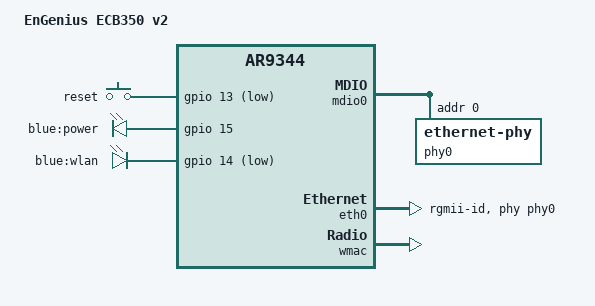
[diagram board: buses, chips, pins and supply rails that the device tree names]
// SPDX-License-Identifier: GPL-2.0-or-later OR MIT

#include "ar9344.dtsi"
#include "ar934x_senao_loader.dtsi"

#include <dt-bindings/gpio/gpio.h>
#include <dt-bindings/input/input.h>

/ {
	compatible = "engenius,ecb350-v2", "qca,ar9344";
	model = "EnGenius ECB350 v2";

	aliases {
		label-mac-device = &eth0;
		led-boot = &led_power;
		led-failsafe = &led_power;
		led-running = &led_power;
		led-upgrade = &led_power;
	};

	keys {
		compatible = "gpio-keys";

		reset {
			linux,code = <KEY_RESTART>;
			gpios = <&gpio 13 GPIO_ACTIVE_LOW>;
			debounce-interval = <60>;
		};
	};

	leds {
		compatible = "gpio-leds";

		led_power: power {
			label = "blue:power";
			gpios = <&gpio 15 GPIO_ACTIVE_HIGH>;
			default-state = "on";
		};

		wlan {
			label = "blue:wlan";
			gpios = <&gpio 14 GPIO_ACTIVE_LOW>;
			linux,default-trigger = "phy0tpt";
		};
	};
};

&mdio0 {
	status = "okay";

	phy0: ethernet-phy@0 {
		reg = <0>;
		eee-broken-100tx;
		eee-broken-1000t;
	};
};

&eth0 {
	status = "okay";

	mtd-mac-address = <&art 0x0>;

	phy-handle = <&phy0>;
	phy-mode = "rgmii-id";

	pll-data = <0x02000000 0x00000101 0x00001313>;
};

&wmac {
	status = "okay";

	qca,disable-5ghz;

	mtd-cal-data = <&art 0x1000>;
};
